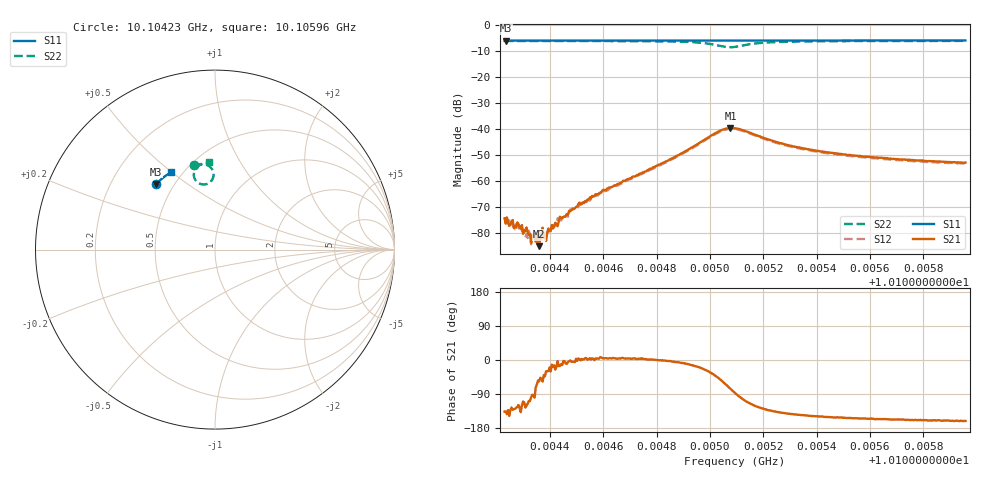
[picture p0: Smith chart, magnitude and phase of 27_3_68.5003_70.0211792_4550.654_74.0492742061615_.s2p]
#  HZ  S  RI  R  50.00
! Rohde & Schwarz Vector Network Analyzer
! Rohde-Schwarz,ZNB20-2Port,1311601062101988,3.16
! Created: UTC 3/20/2024, 4:49:47 PM
! freq[Hz]  re:S11  im:S11  re:S21  im:S21  re:S12  im:S12  re:S22  im:S22
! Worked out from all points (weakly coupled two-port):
!   401 points, 10.10423 GHz to 10.10596 GHz, reference 50 ohm
!   highest |S21| = -39.62 dB at 10.10508 GHz (marker M1); lowest = -84.9 dB at 10.10436 GHz (marker M2)
!   lowest |S11| = -6.2 dB at 10.10424 GHz (marker M3), VSWR 2.94, Z = 20 + j19.3 ohm
!   |S11| at or under -10 dB: nowhere
!   |S22| runs from -8.7 to -6.3 dB; largest |S21 - S12| = 0.001
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1.0104231e10  -0.3286 0.3661  -0.00014 -0.000135  -0.000151 -0.000131  -0.1185 0.4696
1.0104235e10  -0.3284 0.3663  -0.000112 -0.00011  -9.57e-05 -0.000118  -0.1182 0.4698
1.0104244e10  -0.3281 0.3668  -0.000108 -0.000119  -9.61e-05 -0.000137  -0.1175 0.4699
1.0104261e10  -0.3272 0.3675  -0.00012 -0.000135  -0.000108 -0.000105  -0.1163 0.4703
1.0104287e10  -0.3261 0.3684  -7.76e-05 -0.000106  -4.97e-05 -0.000106  -0.1143 0.4707
1.0104308e10  -0.3253 0.3695  -6.35e-05 -8.97e-05  -1.65e-05 -8.21e-05  -0.1124 0.4712
1.010433e10  -0.3243 0.3703  -9.99e-06 -6.55e-05  8.58e-06 -6.12e-05  -0.1109 0.4716
1.010436e10  -0.3229 0.3716  3.17e-05 -4.75e-05  5.5e-05 -8.3e-05  -0.1084 0.4722
1.0104395e10  -0.3211 0.3731  0.000108 -6.08e-05  0.000117 -3.56e-05  -0.1057 0.4728
1.0104429e10  -0.3197 0.3746  0.000137 -7.68e-06  0.000195 -2.56e-05  -0.1026 0.4735
1.0104447e10  -0.3189 0.3754  0.000187 -4.49e-05  0.000199 -2.65e-05  -0.1011 0.4738
1.010452e10  -0.3157 0.3783  0.000373 1.8e-05  0.000383 3.54e-05  -0.0946 0.475
1.0104606e10  -0.3117 0.3818  0.000675 5.58e-05  0.000639 0.000108  -0.0858 0.4761
1.0104809e10  -0.3022 0.3899  0.00208 -4.02e-05  0.00198 0.000154  -0.0579 0.4754
1.0104947e10  -0.2956 0.3952  0.00469 -0.00142  0.00463 -0.000951  -0.0222 0.4557
1.0105029e10  -0.2914 0.3979  0.0061 -0.00633  0.00639 -0.00554  -0.0117 0.3978
1.0105077e10  -0.2895 0.3994  0.00256 -0.0101  0.00333 -0.00947  -0.057 0.3631
1.0105094e10  -0.2889 0.3999  0.000524 -0.0103  0.00144 -0.00986  -0.0792 0.365
1.0105254e10  -0.2816 0.4063  -0.00408 -0.00375  -0.0036 -0.00395  -0.1072 0.4513
1.0105383e10  -0.2752 0.4112  -0.00338 -0.00211  -0.00305 -0.00231  -0.0874 0.4693
1.0105673e10  -0.261 0.4214  -0.00247 -0.00106  -0.00229 -0.00123  -0.057 0.4814
1.0105957e10  -0.2464 0.4307  -0.00214 -0.000746  -0.00195 -0.000878  -0.0342 0.4857
